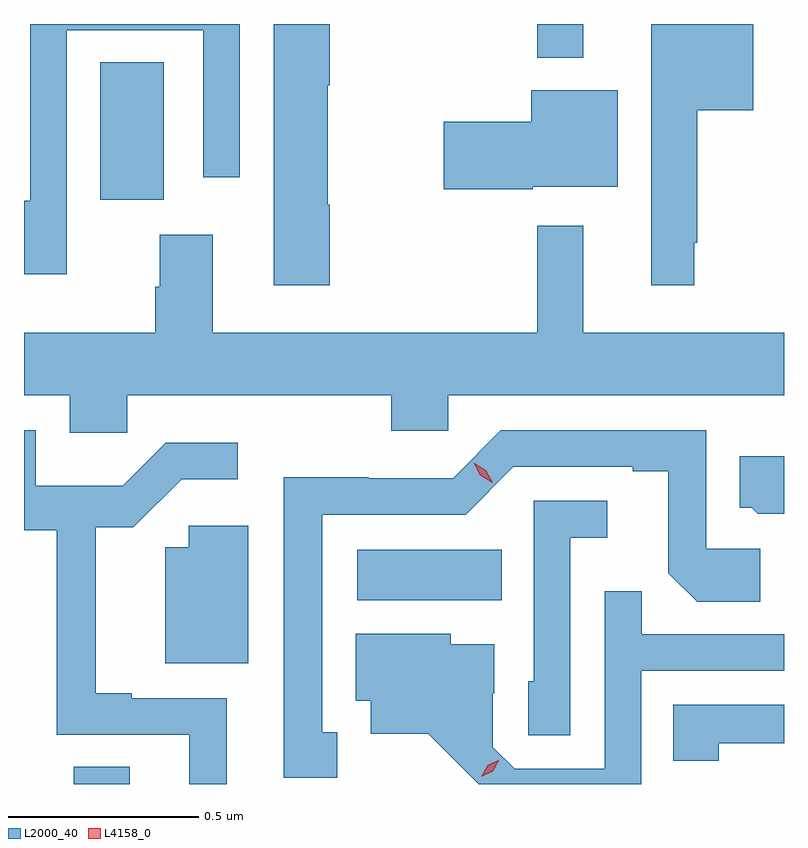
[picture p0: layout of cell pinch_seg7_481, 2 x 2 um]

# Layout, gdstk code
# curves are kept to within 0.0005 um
import gdstk
lib = gdstk.Library(unit=1e-6, precision=1e-09)
def R(c, l, rs):  # rectangles x0, y0, x1, y1
    for r in rs: c.add(gdstk.rectangle(r[:2], r[2:], *l))
def P(c, l, *ps):  # polygons
    for p in ps: c.add(gdstk.Polygon(p, *l))
L2000_40 = (2000, 40)
L4158_0 = (4158, 0)

pinch_seg7_481 = lib.new_cell('pinch_seg7_481')
R(pinch_seg7_481, L2000_40, [(199.012,1074.185,199.159,1074.23), (199.758,1074.668,200.138,1074.802), (199.082,1075.722,199.249,1076.084), (200.232,1076.096,200.353,1076.185)])
P(pinch_seg7_481, L2000_40, [(199.685,1075.709),(199.68,1075.709),(199.68,1076.024),(199.685,1076.024),(199.685,1076.185),(199.538,1076.185),(199.538,1075.497),(199.685,1075.497)],
  [(200.645,1075.609),(200.653,1075.609),(200.653,1075.958),(200.8,1075.958),(200.8,1076.185),(200.531,1076.185),(200.531,1075.497),(200.645,1075.497)],
  [(198.993,1076.169),(199.353,1076.169),(199.353,1075.782),(199.449,1075.782),(199.449,1076.185),(198.897,1076.185),(198.897,1075.72),(198.881,1075.72),(198.881,1075.526),(198.993,1075.526)],
  [(200.22,1075.757),(200.443,1075.757),(200.443,1076.011),(200.216,1076.011),(200.216,1075.928),(199.986,1075.928),(199.986,1075.75),(200.22,1075.75)],
  [(199.153,1075.208),(199.847,1075.208),(199.847,1075.115),(199.998,1075.115),(199.998,1075.208),(200.881,1075.208),(200.881,1075.372),(200.353,1075.372),(200.353,1075.654),(200.232,1075.654),(200.232,1075.372),(199.378,1075.372),(199.378,1075.63),(199.238,1075.63),(199.238,1075.493),(199.226,1075.493),(199.226,1075.372),(198.881,1075.372),(198.881,1075.208),(199.001,1075.208),(199.001,1075.11),(199.153,1075.11)],
  [(199.705,1074.321),(199.666,1074.321),(199.666,1074.894),(200.043,1074.894),(200.169,1075.02),(200.483,1075.02),(200.483,1075.008),(200.577,1075.008),(200.577,1074.74),(200.653,1074.664),(200.818,1074.664),(200.818,1074.804),(200.676,1074.804),(200.676,1075.116),(200.136,1075.116),(200.01,1074.99),(199.788,1074.99),(199.788,1074.992),(199.565,1074.992),(199.565,1074.201),(199.705,1074.201)],
  [(199.414,1074.411),(199.165,1074.411),(199.165,1074.424),(199.07,1074.424),(199.07,1074.861),(199.169,1074.861),(199.296,1074.987),(199.444,1074.987),(199.444,1075.083),(199.254,1075.083),(199.141,1074.97),(198.912,1074.97),(198.912,1075.116),(198.881,1075.116),(198.881,1074.853),(198.967,1074.853),(198.967,1074.315),(199.316,1074.315),(199.316,1074.185),(199.414,1074.185)],
  [(200.881,1075.048),(200.765,1075.048),(200.765,1074.912),(200.796,1074.912),(200.812,1074.896),(200.881,1074.896)],
  [(200.319,1074.833),(200.416,1074.833),(200.416,1074.93),(200.223,1074.93),(200.223,1074.456),(200.208,1074.456),(200.208,1074.313),(200.319,1074.313)],
  [(199.471,1074.865),(199.314,1074.865),(199.314,1074.808),(199.253,1074.808),(199.253,1074.503),(199.471,1074.503)],
  [(200.505,1074.483),(200.881,1074.483),(200.881,1074.579),(200.507,1074.579),(200.507,1074.692),(200.409,1074.692),(200.409,1074.225),(200.172,1074.225),(200.115,1074.282),(200.115,1074.424),(200.119,1074.424),(200.119,1074.553),(200.004,1074.553),(200.004,1074.58),(199.754,1074.58),(199.754,1074.404),(199.793,1074.404),(199.793,1074.317),(199.945,1074.317),(200.078,1074.185),(200.505,1074.185)],
  [(200.709,1074.292),(200.881,1074.292),(200.881,1074.393),(200.59,1074.393),(200.59,1074.246),(200.709,1074.246)])
P(pinch_seg7_481, L4158_0, [(200.084,1074.204),(200.084,1074.204),(200.101,1074.234),(200.131,1074.249),(200.131,1074.249),(200.131,1074.249),(200.114,1074.219),(200.084,1074.204)],
  [(200.113,1074.978),(200.082,1074.997),(200.064,1075.03),(200.064,1075.03),(200.065,1075.03),(200.096,1075.011),(200.114,1074.978),(200.114,1074.978)])

lib.write_gds('pinch_seg7_481.gds')
